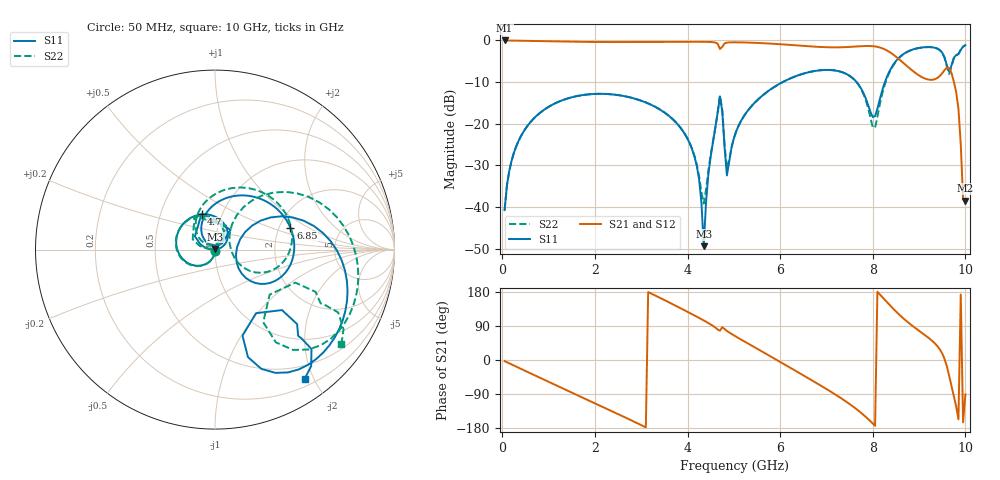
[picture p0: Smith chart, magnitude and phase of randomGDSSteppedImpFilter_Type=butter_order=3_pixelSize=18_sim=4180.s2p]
! freq	dB(S11)	phase(S11)	dB(S12)	phase(S12)
!  dB(S21)	phase(S21)	dB(S22)	phase(S22)
!S-par simulation data
#  GHz  S  DB  R 50
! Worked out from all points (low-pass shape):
!   200 points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, 50 MHz to 10 GHz, reference 50 ohm
!   highest |S21| = 0.00 dB at 50 MHz (marker M1); lowest = -38.5 dB at 10 GHz (marker M2)
!   |S21| within 3 dB of the highest: start of sweep to 8.393 GHz
!   lowest |S11| = -49.4 dB at 4.35 GHz (marker M3), VSWR 1.01, Z = 50.2 + j0.291 ohm
!   |S11| at or under -10 dB: start of sweep to 6.054 GHz; 7.65 GHz to 8.263 GHz (612.9 MHz wide, 7.7 % of centre)
!   |S22| runs from -40.8 to -1.1 dB; largest |S21 - S12| = 0
!   S11 on the Smith chart (normalised r, x): 50 MHz: 1.00, -0.02; 4.7 GHz: 0.80, +0.33; 6.85 GHz: 2.31, +0.69; 10 GHz: 0.30, -1.87
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0.05  -40.77 -91.7  -0.00 -2.9  -0.00 -2.9  -40.76 -91.5
0.5  -21.20 -119.7  -0.07 -29.0  -0.07 -29.0  -21.20 -118.9
1.75  -13.10 167.5  -0.34 -100.0  -0.34 -100.0  -13.10 171.0
3.4  -16.56 68.7  -0.35 164.3  -0.35 164.3  -16.57 80.1
4.15  -27.91 19.9  -0.32 117.6  -0.32 117.6  -27.72 45.6
4.35  -49.42 59.0  -0.33 104.4  -0.33 104.4  -39.19 107.8
4.45  -32.13 176.8  -0.35 97.5  -0.35 97.5  -31.21 167.5
4.7  -13.45 110.7  -2.06 77.3  -2.06 77.3  -13.22 121.3
4.85  -32.42 86.3  -0.53 76.8  -0.53 76.8  -30.81 95.1
5.05  -21.86 136.8  -0.45 61.4  -0.45 61.4  -21.84 147.9
5.85  -11.33 84.7  -0.80 5.5  -0.80 5.5  -11.35 101.5
6.7  -7.43 26.2  -1.47 -54.7  -1.47 -54.7  -7.43 43.7
6.85  -7.18 16.0  -1.56 -65.6  -1.56 -65.6  -7.18 33.3
7.5  -8.51 -28.0  -1.56 -116.2  -1.56 -116.2  -8.51 -12.9
8.05  -18.16 6.3  -1.45 -173.7  -1.45 -173.7  -20.96 25.7
8.35  -7.64 26.6  -2.69 147.1  -2.69 147.1  -7.94 48.8
9  -1.79 -29.0  -8.42 77.0  -8.42 77.0  -1.81 -10.4
9.45  -2.33 -63.9  -8.50 27.6  -8.50 27.6  -2.35 -46.9
9.65  -7.50 -57.1  -6.62 -41.9  -6.62 -41.9  -8.08 -39.5
9.85  -3.24 -45.7  -16.42 -156.6  -16.42 -156.6  -3.30 -26.7
9.95  -1.50 -50.5  -38.17 -164.6  -38.17 -164.6  -1.49 -31.8
10  -1.15 -55.2  -38.46 -90.8  -38.46 -90.8  -1.12 -36.7
